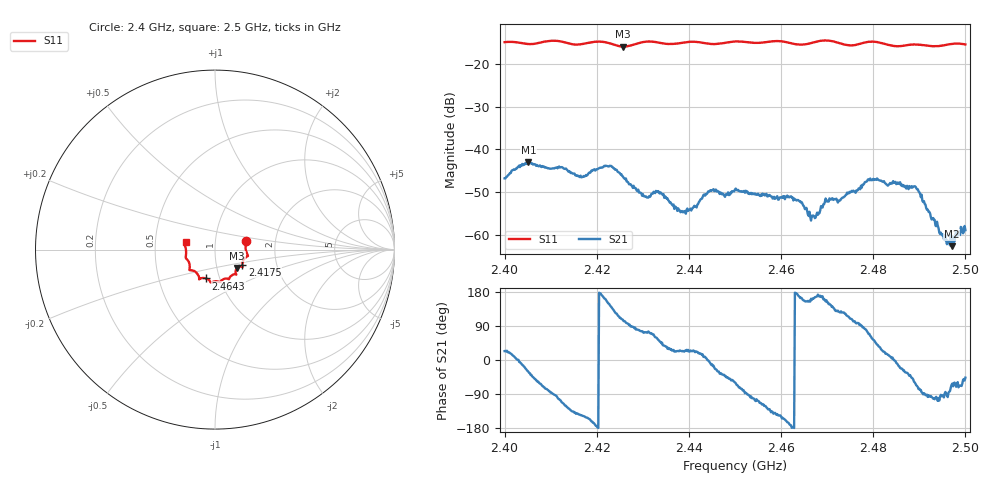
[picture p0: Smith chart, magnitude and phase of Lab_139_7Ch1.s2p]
# Hz S RI R 50
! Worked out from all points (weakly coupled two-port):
!   601 points, 2.4 GHz to 2.5 GHz, reference 50 ohm
!   highest |S21| = -42.97 dB at 2.4052 GHz (marker M1); lowest = -62.6 dB at 2.497 GHz (marker M2)
!   lowest |S11| = -15.9 dB at 2.4257 GHz (marker M3), VSWR 1.38, Z = 62.5 - j13.1 ohm
!   |S11| at or under -10 dB: start of sweep to end of sweep
!   S12 and S22 are empty: the file has one direction only
!   S11 on the Smith chart (normalised r, x): 2.4 GHz: 1.41, +0.14; 2.4175 GHz: 1.34, -0.23; 2.4643 GHz: 0.86, -0.28; 2.5 GHz: 0.72, +0.06
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2.4e9  0.1732 0.0486  0.0042 0.00183  0 0  0 0
2.405167e9  0.1705 0.0121  0.00608 -0.00367  0 0  0 0
2.416667e9  0.1531 -0.0747  -0.00389 -0.00266  0 0  0 0
2.4175e9  0.152 -0.0841  -0.00424 -0.0024  0 0  0 0
2.4225e9  0.1489 -0.0946  -0.00543 0.00322  0 0  0 0
2.425667e9  0.1228 -0.1022  -0.00134 0.00463  0 0  0 0
2.430667e9  0.1188 -0.1384  0.000814 0.0027  0 0  0 0
2.433333e9  0.1129 -0.1374  0.00195 0.00261  0 0  0 0
2.438833e9  0.0801 -0.1587  0.0017 0.00072  0 0  0 0
2.444833e9  0.0569 -0.1615  0.00319 -0.000718  0 0  0 0
2.447833e9  0.0354 -0.1729  0.00205 -0.00189  0 0  0 0
2.45e9  0.0288 -0.1808  0.00171 -0.00294  0 0  0 0
2.464333e9  -0.0498 -0.1605  -0.0023 0.000638  0 0  0 0
2.466667e9  -0.0761 -0.1592  -0.00156 0.000616  0 0  0 0
2.47e9  -0.0882 -0.1659  -0.00218 0.00113  0 0  0 0
2.472667e9  -0.09 -0.1502  -0.0015 0.00202  0 0  0 0
2.478833e9  -0.1401 -0.1149  0.00136 0.00423  0 0  0 0
2.483333e9  -0.1407 -0.09  0.00377 0.000871  0 0  0 0
2.489333e9  -0.163 -0.0437  0.0014 -0.00324  0 0  0 0
2.494833e9  -0.1631 0.00792  -9.96e-05 -0.00101  0 0  0 0
2.497e9  -0.1693 0.0272  0.000307 -0.000671  0 0  0 0
2.5e9  -0.1638 0.0428  0.000781 -0.000824  0 0  0 0
